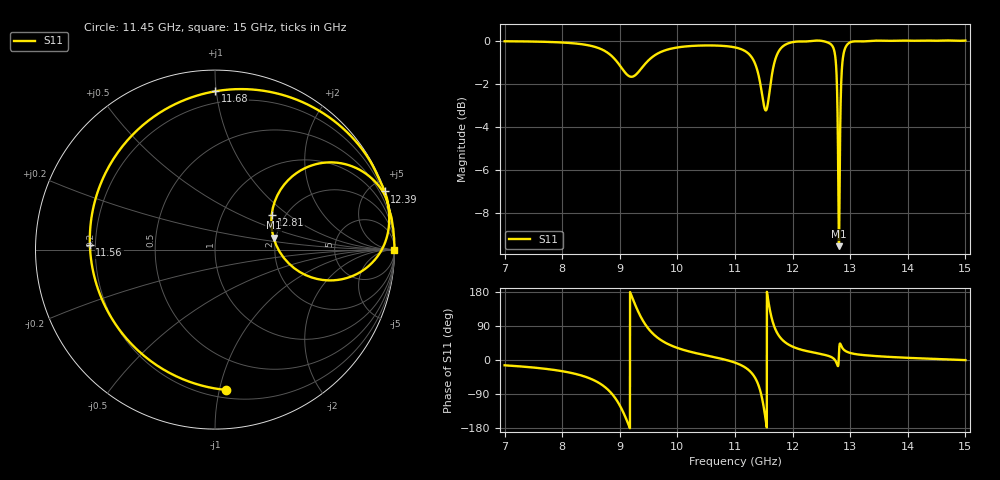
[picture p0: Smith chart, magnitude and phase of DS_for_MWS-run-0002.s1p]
! TOUCHSTONE file generated by CST DESIGN STUDIO
! Date and time: Mon Feb 10 16:45:18 2025
! Project name: C:\Work\MatlabApps\UnitCellType2OptimizationMatlab\CST\unitcell.cst
! Tree item: Tasks\Sweep1\SPara1\S-Parameters
! Header version: 2024
! Port assignment regex: !\s*Touchstone port\s*([0-9]+)\s*=\s*(CST MWS port|CST DES external port|CST DES block port)\s*(.+)\s* \(\"(.*)\"\)(\s*mode\s*([0-9]+))?.*
! Touchstone port assignment:
! Touchstone port 1 = CST DES external port 1 ("")
# GHz S MA R 50
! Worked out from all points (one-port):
!   4001 points, 7 GHz to 15 GHz, reference 50 ohm
!   lowest |S11| = -9.6 dB at 12.8 GHz (marker M1), VSWR 2.00, Z = 96.9 + j14.5 ohm
!   |S11| at or under -10 dB: nowhere
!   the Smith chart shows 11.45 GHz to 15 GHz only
!   S11 on the Smith chart (normalised r, x): 11.45 GHz: 0.26, -1.05; 11.56 GHz: 0.18, +0.02; 11.68 GHz: 0.12, +0.99; 12.39 GHz: 0.01, +6.00; 12.81 GHz: 1.71, +0.76; 15 GHz: open
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7  0.9961 -14.0
8  0.9895 -29.5
8.618  0.9619 -58.7
8.856  0.9214 -88.1
9  0.8753 -120.0
9.19  0.8239 174.7
9.3  0.8382 134.1
9.402  0.8703 103.6
9.656  0.9326 58.8
10  0.9637 31.9
11  0.9639 -6.9
11.294  0.9126 -35.2
11.446  0.7842 -85.5
11.498  0.7115 -123.8
11.556  0.6976 177.9
11.618  0.7942 122.9
11.678  0.8822 89.9
11.806  0.9624 55.7
12  0.9915 35.2
12.394  0.9995 18.9
12.71  0.9595 4.1
12.764  0.8282 -8.3
12.804  0.3327 11.5
12.81  0.3688 31.3
12.86  0.875 32.7
13  0.9905 18.6
14  0.9991 5.7
15  0.9997 -0.3
